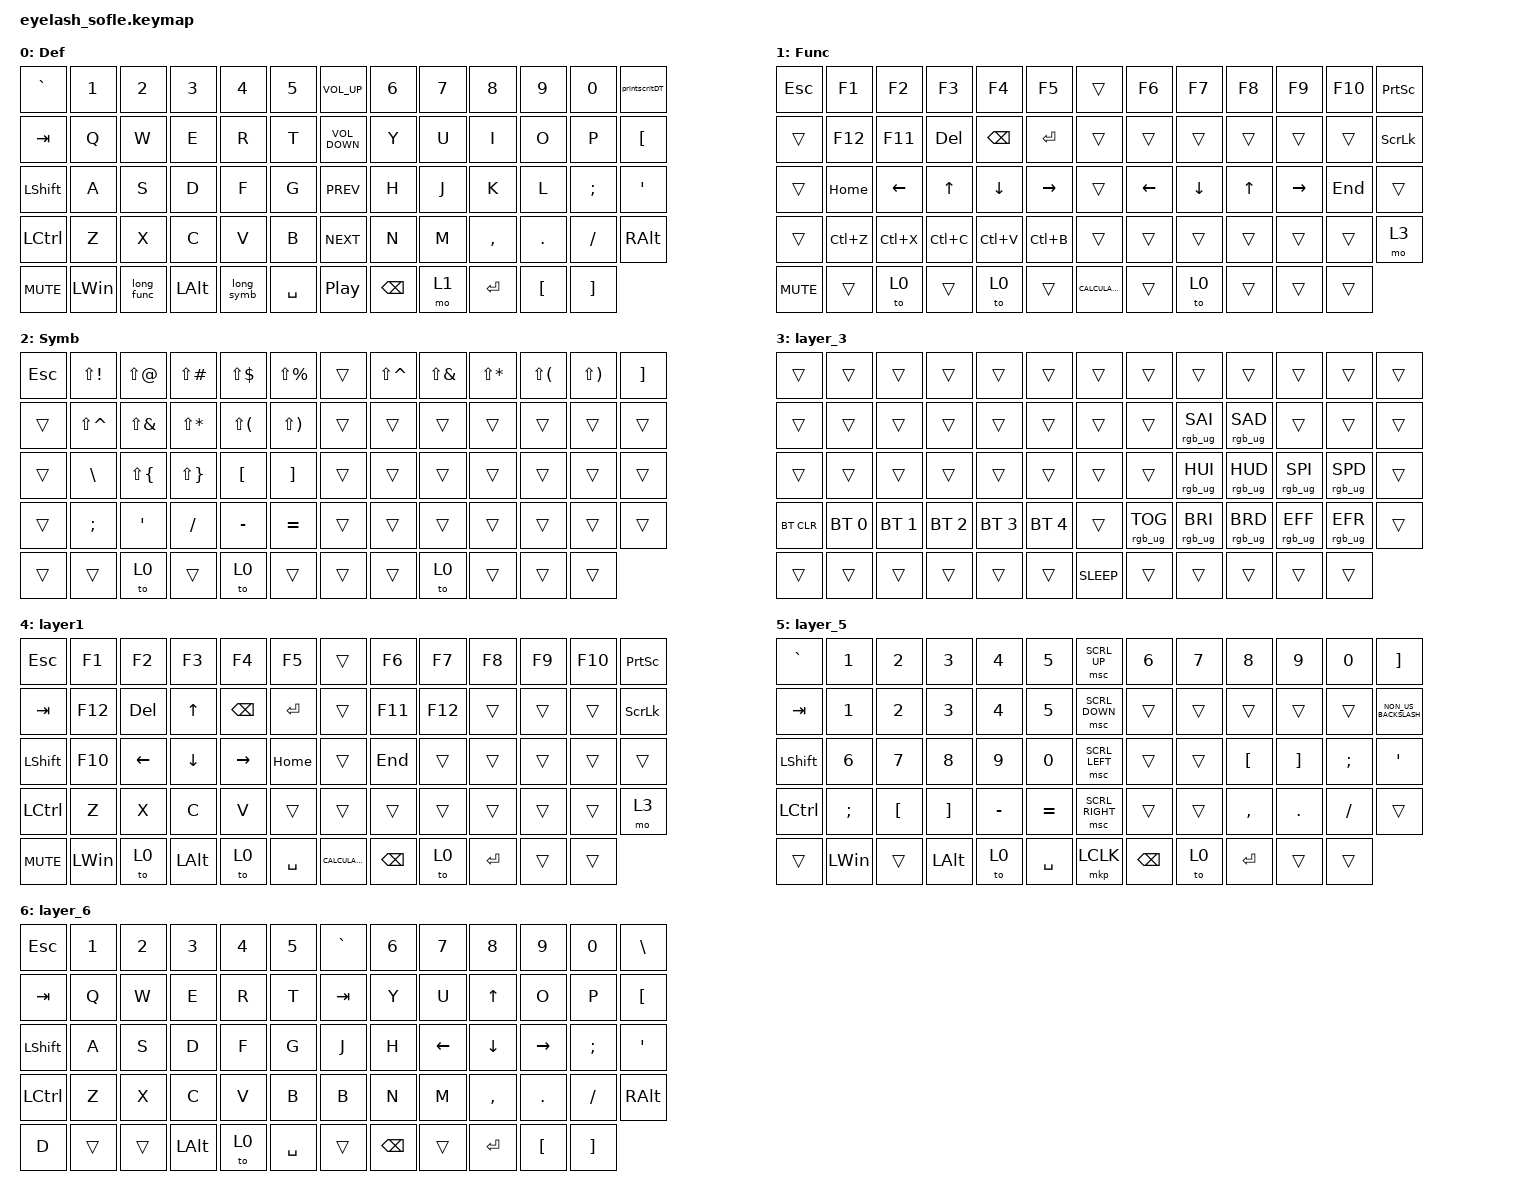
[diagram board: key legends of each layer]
#define ZMK_POINTING_DEFAULT_MOVE_VAL 1200  // 600
#define ZMK_POINTING_DEFAULT_SCRL_VAL 25   // 10

#include <input/processors.dtsi>
#include <zephyr/dt-bindings/input/input-event-codes.h>
#include <behaviors.dtsi>
#include <dt-bindings/zmk/bt.h>
#include <dt-bindings/zmk/keys.h>
#include <dt-bindings/zmk/pointing.h>
#include <dt-bindings/zmk/rgb.h>

&mmv_input_listener { input-processors = <&zip_xy_scaler 2 1>; };

&msc_input_listener { input-processors = <&zip_scroll_scaler 2 1>; };

&msc {
    acceleration-exponent = <1>;      // 0
    time-to-max-speed-ms = <100>;       // 300
    delay-ms = <0>;                   // 0
};

&mmv {
    time-to-max-speed-ms = <500>;
    acceleration-exponent = <1>;
    trigger-period-ms = <16>;
};

/ {
    scroll_encoder: scroll_encoder {
        compatible = "zmk,behavior-sensor-rotate";
        #sensor-binding-cells = <0>;
        bindings = <&msc SCRL_DOWN>, <&msc SCRL_UP>;

        tap-ms = <100>;
    };

    long_func: long_func {
        compatible = "zmk,behavior-tap-dance";
        label = "LONG_FUNC";
        #binding-cells = <0>;
        bindings = <&mo 1>, <&to 4>;
    };

    long_symb: long_symb {
        compatible = "zmk,behavior-tap-dance";
        label = "LONG_SYMB";
        #binding-cells = <0>;
        bindings = <&mo 2>, <&to 5>;
    };

    home_row: home_row {
        compatible = "zmk,behavior-hold-tap";
        label = "HOME_ROW";
        bindings = <&kp>, <&kp>;

        #binding-cells = <2>;
        tapping-term-ms = <200>;
        flavor = "tap-preferred";
    };

    printscritDT: printscritDT {
        compatible = "zmk,behavior-tap-dance";
        label = "PRINTSCRITDT";
        #binding-cells = <0>;
        bindings =
            <&kp NON_US_BACKSLASH>,
            <&kp PRINTSCREEN>,
            <&kp LC(SCROLLLOCK)>;

        tapping-term-ms = <150>;
    };

    behaviors {
    };

    combos {
        compatible = "zmk,combos";

        Isac {
            bindings = <&none>;
            key-positions = <22 28 27 42>;
        };
    };

    keymap {
        compatible = "zmk,keymap";

        Def {
            bindings = <
&kp GRAVE       &kp N1        &kp N2      &kp N3        &kp N4      &kp N5       &kp C_VOLUME_UP    &kp N6         &kp N7  &kp N8     &kp N9            &kp N0             &printscritDT
&kp TAB         &kp Q         &kp W       &kp E         &kp R       &kp T        &kp C_VOLUME_DOWN  &kp Y          &kp U   &kp I      &kp O             &kp P              &kp LEFT_BRACKET
&kp LEFT_SHIFT  &kp A         &kp S       &kp D         &kp F       &kp G        &kp C_PREV         &kp H          &kp J   &kp K      &kp L             &kp SEMI           &kp APOS
&kp LCTRL       &kp Z         &kp X       &kp C         &kp V       &kp B        &kp C_NEXT         &kp N          &kp M   &kp COMMA  &kp DOT           &kp FSLH           &kp RIGHT_ALT
&kp C_MUTE      &kp LEFT_WIN  &long_func  &kp LEFT_ALT  &long_symb  &kp SPACE    &kp C_PLAY_PAUSE   &kp BACKSPACE  &mo 1   &kp ENTER  &kp LEFT_BRACKET  &kp RIGHT_BRACKET
            >;

            display-name = "Def";
        };

        Func {
            bindings = <
&kp ESC     &kp F1     &kp F2     &kp F3      &kp F4         &kp F5       &trans            &kp F6    &kp F7    &kp F8  &kp F9     &kp F10  &kp PRINTSCREEN
&trans      &kp F12    &kp F11    &kp DELETE  &kp BACKSPACE  &kp ENTER    &trans            &trans    &trans    &trans  &trans     &trans   &kp SCROLLLOCK
&trans      &kp HOME   &kp LEFT   &kp UP      &kp DOWN       &kp RIGHT    &trans            &kp LEFT  &kp DOWN  &kp UP  &kp RIGHT  &kp END  &trans
&trans      &kp LC(Z)  &kp LC(X)  &kp LC(C)   &kp LC(V)      &kp LC(B)    &trans            &trans    &trans    &trans  &trans     &trans   &mo 3
&kp C_MUTE  &trans     &to 0      &trans      &to 0          &trans       &kp K_CALCULATOR  &trans    &to 0     &trans  &trans     &trans
            >;

            display-name = "Func";
        };

        Symb {
            bindings = <
&kp ESCAPE  &kp LS(EXCL)   &kp LS(AT)    &kp LS(POUND)  &kp LS(DLLR)  &kp LS(PRCNT)    &trans  &kp LS(CARET)  &kp LS(AMPS)  &kp LS(STAR)  &kp LS(LPAR)  &kp LS(RPAR)  &kp RIGHT_BRACKET
&trans      &kp LS(CARET)  &kp LS(AMPS)  &kp LS(STAR)   &kp LS(LPAR)  &kp LS(RPAR)     &trans  &trans         &trans        &trans        &trans        &trans        &trans
&trans      &kp BSLH       &kp LS(LBRC)  &kp LS(RBRC)   &kp LBKT      &kp RBKT         &trans  &trans         &trans        &trans        &trans        &trans        &trans
&trans      &kp SEMI       &kp SQT       &kp FSLH       &kp MINUS     &kp EQUAL        &trans  &trans         &trans        &trans        &trans        &trans        &trans
&trans      &trans         &to 0         &trans         &to 0         &trans           &trans  &trans         &to 0         &trans        &trans        &trans
            >;
        };

        layer_3 {
            bindings = <
&trans      &trans        &trans        &trans        &trans        &trans          &trans       &trans           &trans           &trans           &trans           &trans           &trans
&trans      &trans        &trans        &trans        &trans        &trans          &trans       &trans           &rgb_ug RGB_SAI  &rgb_ug RGB_SAD  &trans           &trans           &trans
&trans      &trans        &trans        &trans        &trans        &trans          &trans       &trans           &rgb_ug RGB_HUI  &rgb_ug RGB_HUD  &rgb_ug RGB_SPI  &rgb_ug RGB_SPD  &trans
&bt BT_CLR  &bt BT_SEL 0  &bt BT_SEL 1  &bt BT_SEL 2  &bt BT_SEL 3  &bt BT_SEL 4    &trans       &rgb_ug RGB_TOG  &rgb_ug RGB_BRI  &rgb_ug RGB_BRD  &rgb_ug RGB_EFF  &rgb_ug RGB_EFR  &trans
&trans      &trans        &trans        &trans        &trans        &trans          &kp C_SLEEP  &trans           &trans           &trans           &trans           &trans
            >;
        };

        layer_4 {
            display-name = "layer1";
            bindings = <
&kp ESCAPE      &kp F1        &kp F2          &kp F3          &kp F4           &kp F5       &trans            &kp F6         &kp F7   &kp F8     &kp F9  &kp F10  &kp PRINTSCREEN
&kp TAB         &kp F12       &kp DEL         &kp UP_ARROW    &kp BACKSPACE    &kp ENTER    &trans            &kp F11        &kp F12  &trans     &trans  &trans   &kp SCROLLLOCK
&kp LEFT_SHIFT  &kp F10       &kp LEFT_ARROW  &kp DOWN_ARROW  &kp RIGHT_ARROW  &kp HOME     &trans            &kp END        &trans   &trans     &trans  &trans   &trans
&kp LCTRL       &kp Z         &kp X           &kp C           &kp V            &trans       &trans            &trans         &trans   &trans     &trans  &trans   &mo 3
&kp C_MUTE      &kp LEFT_WIN  &to 0           &kp LEFT_ALT    &to 0            &kp SPACE    &kp K_CALCULATOR  &kp BACKSPACE  &to 0    &kp ENTER  &trans  &trans
            >;
        };

        layer_5 {
            bindings = <
&kp GRAVE       &kp NUMBER_1  &kp NUMBER_2      &kp NUMBER_3       &kp NUMBER_4  &kp NUMBER_5    &msc SCRL_UP     &kp NUMBER_6   &kp NUMBER_7  &kp NUMBER_8      &kp NUMBER_9       &kp NUMBER_0   &kp RIGHT_BRACKET
&kp TAB         &kp NUMBER_1  &kp NUMBER_2      &kp NUMBER_3       &kp NUMBER_4  &kp NUMBER_5    &msc SCRL_DOWN   &trans         &trans        &trans            &trans             &trans         &kp NON_US_BACKSLASH
&kp LEFT_SHIFT  &kp NUMBER_6  &kp NUMBER_7      &kp NUMBER_8       &kp NUMBER_9  &kp NUMBER_0    &msc SCRL_LEFT   &trans         &trans        &kp LEFT_BRACKET  &kp RIGHT_BRACKET  &kp SEMICOLON  &kp SQT
&kp LCTRL       &kp SEMI      &kp LEFT_BRACKET  &kp RIGHT_BRACKET  &kp MINUS     &kp EQUAL       &msc SCRL_RIGHT  &trans         &trans        &kp COMMA         &kp PERIOD         &kp SLASH      &trans
&trans          &kp LEFT_WIN  &trans            &kp LEFT_ALT       &to 0         &kp SPACE       &mkp LCLK        &kp BACKSPACE  &to 0         &kp ENTER         &trans             &trans
            >;
        };

        layer_6 {
            bindings = <
&kp ESC    &kp N1  &kp N2  &kp N3    &kp N4  &kp N5       &kp GRAVE  &kp N6    &kp N7    &kp N8     &kp N9     &kp N0    &kp BSLH
&kp TAB    &kp Q   &kp W   &kp E     &kp R   &kp T        &kp TAB    &kp Y     &kp U     &kp UP     &kp O      &kp P     &kp LBKT
&kp LSHFT  &kp A   &kp S   &kp D     &kp F   &kp G        &kp J      &kp H     &kp LEFT  &kp DOWN   &kp RIGHT  &kp SEMI  &kp SQT
&kp LCTRL  &kp Z   &kp X   &kp C     &kp V   &kp B        &kp B      &kp N     &kp M     &kp COMMA  &kp DOT    &kp FSLH  &kp RALT
&kp D      &trans  &trans  &kp LALT  &to 0   &kp SPACE    &trans     &kp BSPC  &trans    &kp RET    &kp LBKT   &kp RBKT
            >;
        };
    };
};
